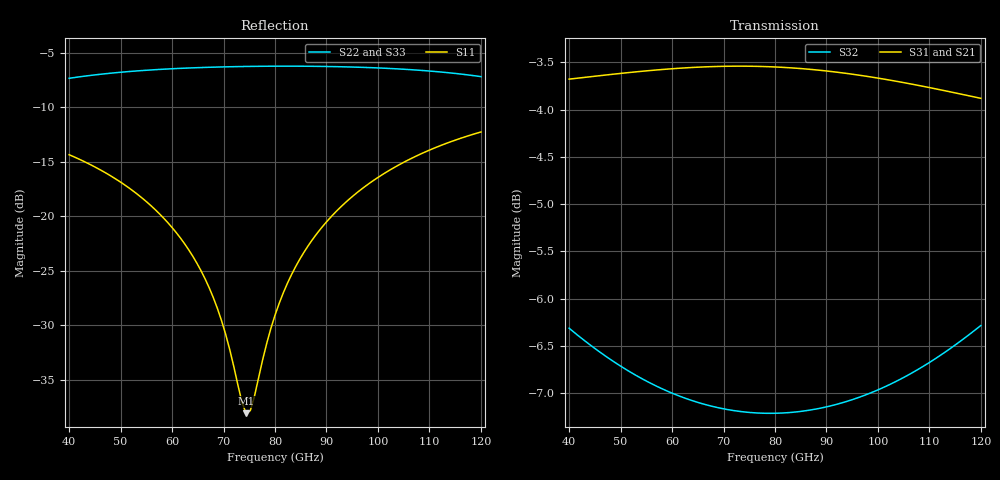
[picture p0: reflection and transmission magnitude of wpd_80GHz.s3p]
#  GHZ S DB R 50
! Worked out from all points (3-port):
!   101 points, 40 GHz to 120 GHz, reference 50 ohm
!   strongest paths, dB at 40 GHz, 60 GHz, 80 GHz, 100 GHz, 120 GHz:
!     S31: -3.7, -3.6, -3.5, -3.7, -3.9
!     S21: -3.7, -3.6, -3.6, -3.7, -3.9
!     S32: -6.3, -7.0, -7.2, -7.0, -6.3
!   lowest |S11| = -38.0 dB at 74.4 GHz (marker M1), VSWR 1.03, Z = 51.2 + j0.219 ohm
!   |S11| at or under -10 dB: start of sweep to end of sweep
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40  -14.35 129.9  -3.68 -44.9  -3.68 -44.9
    -3.68 -44.9  -7.35 47.2  -6.31 -98.6
    -3.68 -44.9  -6.31 -98.6  -7.37 47.2
52.8  -17.81 113.1  -3.61 -59.6  -3.60 -59.7
      -3.61 -59.6  -6.69 27.7  -6.81 -125.7
      -3.60 -59.7  -6.81 -125.7  -6.71 27.6
62.4  -22.49 97.7  -3.57 -70.9  -3.56 -71.0
      -3.57 -70.9  -6.42 15.3  -7.05 -145.3
      -3.56 -71.0  -7.05 -145.3  -6.45 15.1
68.8  -28.42 80.4  -3.55 -78.5  -3.54 -78.6
      -3.55 -78.5  -6.32 7.6  -7.15 -158.3
      -3.54 -78.6  -7.15 -158.3  -6.35 7.4
74.4  -38.05 9.8  -3.55 -85.2  -3.54 -85.3
      -3.55 -85.2  -6.27 1.2  -7.20 -169.6
      -3.54 -85.3  -7.20 -169.6  -6.29 1.0
75.2  -37.80 -13.5  -3.55 -86.2  -3.54 -86.2
      -3.55 -86.2  -6.26 0.3  -7.21 -171.2
      -3.54 -86.2  -7.21 -171.2  -6.29 0.1
80  -29.06 -73.4  -3.56 -91.9  -3.55 -92.0
    -3.56 -91.9  -6.24 -5.2  -7.22 179.1
    -3.55 -92.0  -7.22 179.1  -6.27 -5.4
85.6  -23.31 -90.3  -3.58 -98.6  -3.57 -98.7
      -3.58 -98.6  -6.25 -11.5  -7.19 167.8
      -3.57 -98.7  -7.19 167.8  -6.27 -11.8
94.4  -18.44 -105.3  -3.63 -109.1  -3.62 -109.2
      -3.63 -109.1  -6.31 -21.8  -7.08 149.8
      -3.62 -109.2  -7.08 149.8  -6.34 -22.1
120  -12.27 -138.2  -3.88 -138.8  -3.88 -139.0
     -3.88 -138.8  -7.20 -58.3  -6.29 95.5
     -3.88 -139.0  -6.29 95.5  -7.21 -58.7
